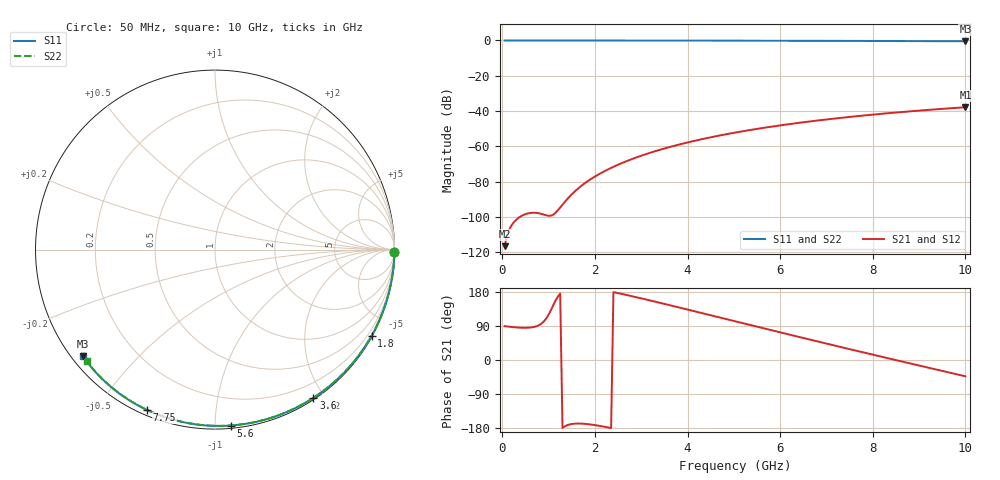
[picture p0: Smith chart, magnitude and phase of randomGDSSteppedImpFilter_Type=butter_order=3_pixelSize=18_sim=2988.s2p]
! freq	dB(S11)	phase(S11)	dB(S12)	phase(S12)
!  dB(S21)	phase(S21)	dB(S22)	phase(S22)
!S-par simulation data
#  GHz  S  DB  R 50
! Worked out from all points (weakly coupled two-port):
!   200 points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, 50 MHz to 10 GHz, reference 50 ohm
!   highest |S21| = -37.81 dB at 10 GHz (marker M1); lowest = -116.5 dB at 50 MHz (marker M2)
!   lowest |S11| = -0.5 dB at 10 GHz (marker M3), VSWR 36.51, Z = 1.54 - j17.7 ohm
!   |S11| at or under -10 dB: nowhere
!   |S22| runs from -0.5 to 0.0 dB; largest |S21 - S12| = 0
!   S11 on the Smith chart (normalised r, x): 50 MHz: open; 1.8 GHz: 0.03, -3.88; 3.6 GHz: 0.02, -1.87; 5.6 GHz: 0.02, -1.10; 7.75 GHz: 0.02, -0.66; 10 GHz: 0.03, -0.35
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0.05  -0.00 -0.8  -116.46 89.3  -116.46 89.3  -0.00 -0.8
0.45  -0.01 -7.3  -98.87 85.0  -98.87 85.0  -0.01 -7.2
0.9  -0.02 -14.6  -98.61 102.1  -98.61 102.1  -0.02 -14.4
1.75  -0.04 -28.1  -81.44 -168.1  -81.44 -168.1  -0.04 -27.7
1.8  -0.04 -28.9  -80.48 -168.6  -80.48 -168.6  -0.04 -28.5
1.85  -0.04 -29.7  -79.57 -169.3  -79.57 -169.3  -0.04 -29.3
2.05  -0.04 -32.8  -76.27 -172.8  -76.27 -172.8  -0.04 -32.4
2.25  -0.05 -35.9  -73.42 -177.2  -73.42 -177.2  -0.05 -35.4
2.55  -0.05 -40.5  -69.76 175.2  -69.76 175.2  -0.05 -40.0
2.95  -0.06 -46.6  -65.70 164.1  -65.70 164.1  -0.06 -46.0
3.4  -0.07 -53.4  -61.91 151.0  -61.91 151.0  -0.07 -52.7
3.6  -0.08 -56.4  -60.42 145.1  -60.42 145.1  -0.07 -55.6
4.3  -0.09 -66.6  -55.94 124.1  -55.94 124.1  -0.09 -65.7
5.05  -0.12 -77.2  -52.05 101.5  -52.05 101.5  -0.12 -76.2
5.6  -0.14 -84.8  -49.65 84.9  -49.65 84.9  -0.14 -83.7
6.15  -0.16 -92.2  -47.53 68.5  -47.53 68.5  -0.16 -91.0
6.7  -0.19 -99.5  -45.66 52.1  -45.66 52.1  -0.19 -98.1
7.2  -0.22 -106.0  -44.14 37.4  -44.14 37.4  -0.22 -104.5
7.75  -0.26 -113.0  -42.62 21.3  -42.62 21.3  -0.26 -111.4
8.35  -0.31 -120.5  -41.14 4.0  -41.14 4.0  -0.30 -118.8
9.2  -0.39 -131.1  -39.30 -20.3  -39.30 -20.3  -0.38 -129.2
10  -0.48 -141.1  -37.81 -43.0  -37.81 -43.0  -0.47 -138.9
